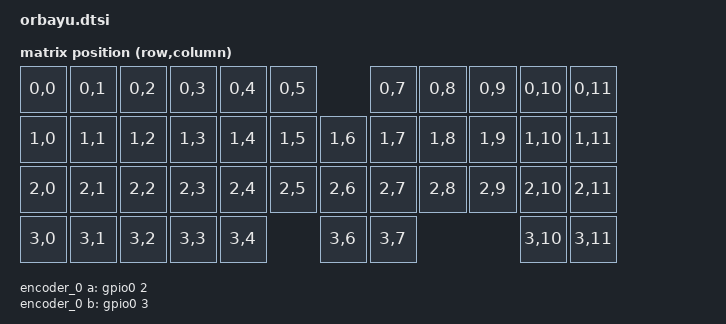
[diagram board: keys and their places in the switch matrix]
#include <dt-bindings/zmk/matrix_transform.h>

#include "orbayu-layouts.dtsi"

/ {
    chosen {
        zmk,physical-layout = &default_layout;
    };

    default_transform: default_transform {
        compatible = "zmk,matrix-transform";
        columns = <12>;
        rows = <4>;

        /*
         * Full keyboard: left (cols 0-5) + right (cols 6-11, col-offset=6)
         *
         * LEFT — 23 keys
         *  col:   0       1       2       3       4       5
         *         D10     D9      D18     D8      D17     D7
         * row0:  P1.15  P1.14  P1.05  P1.13  P1.03  P1.12
         * row1:  "      "      "      "      "      "
         * row2:  "      "      "      "      "      "
         * row3:  "      "      "      "      "      [absent]
         * rows: D2(P0.28) D3(P0.29) D4(P0.04) D5(P0.05)
         *
         * RIGHT — 21 keys (col-offset=6 → physical cols 0-5 = transform cols 6-11)
         *  col:   6       7       8       9       10      11
         *         COL0    COL1    COL2    COL3    COL4    COL5
         *         P1.11  P0.31  P0.05  P0.10  P0.04  P0.09
         * row0:  [absent]  ✓      ✓      ✓      ✓      ✓
         * row1:   ✓       ✓      ✓      ✓      ✓      ✓
         * row2:   ✓       ✓      ✓      ✓      ✓      ✓
         * row3:   ✓       ✓    [absent][absent]  ✓      ✓
         * rows: D0(P0.02) D1(P0.03) D3(P0.29) D2(P0.28)
         */
        map = <
            RC(0,0)  RC(0,1)  RC(0,2)  RC(0,3)  RC(0,4)  RC(0,5)           RC(0,7)  RC(0,8)  RC(0,9)  RC(0,10) RC(0,11)
            RC(1,0)  RC(1,1)  RC(1,2)  RC(1,3)  RC(1,4)  RC(1,5)  RC(1,6)  RC(1,7)  RC(1,8)  RC(1,9)  RC(1,10) RC(1,11)
            RC(2,0)  RC(2,1)  RC(2,2)  RC(2,3)  RC(2,4)  RC(2,5)  RC(2,6)  RC(2,7)  RC(2,8)  RC(2,9)  RC(2,10) RC(2,11)
            RC(3,0)  RC(3,1)  RC(3,2)  RC(3,3)  RC(3,4)            RC(3,6)  RC(3,7)                     RC(3,10) RC(3,11)
        >;
    };

    encoder_0: encoder_0 {
        compatible = "alps,ec11";
        a-gpios = <&gpio0 2 (GPIO_ACTIVE_HIGH | GPIO_PULL_UP)>;   /* A = D0 (P0.02) */
        b-gpios = <&gpio0 3 (GPIO_ACTIVE_HIGH | GPIO_PULL_UP)>;   /* B = D1 (P0.03) */
        steps = <80>;
        status = "disabled";
    };

    sensors: sensors {
        compatible = "zmk,keymap-sensors";
        sensors = <&encoder_0>;
        triggers-per-rotation = <20>;
    };
};
